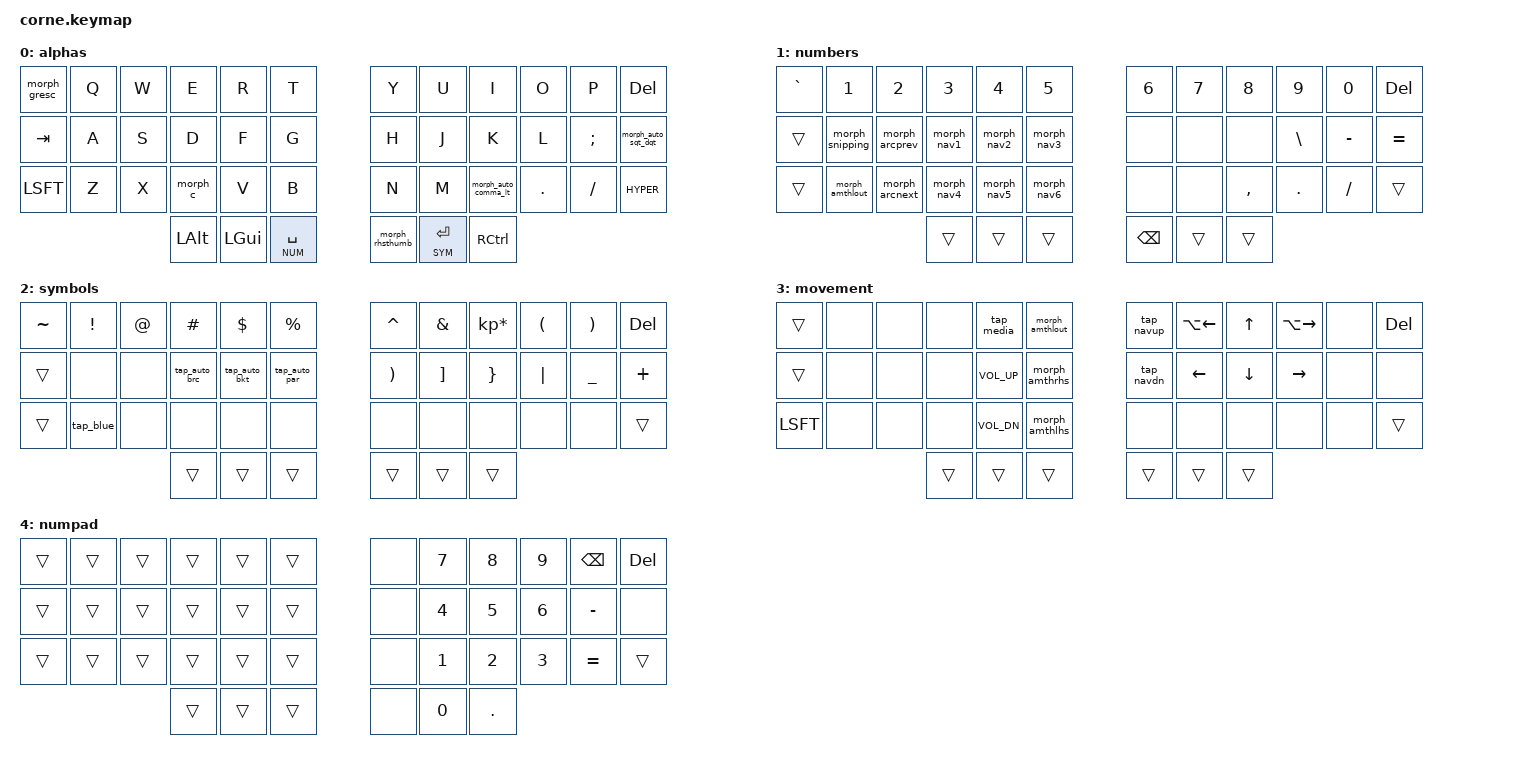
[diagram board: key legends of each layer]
/*
 * Copyright (c) 2020 The ZMK Contributors
 *
 * SPDX-License-Identifier: MIT
 */

#include "../src/base.dtsi"

// corne keymap
/ {
  keymap {
    compatible = "zmk,keymap";
    alphas {
      bindings = <
        &morph_gresc &kp Q &kp W &kp E &kp R &kp T  &kp Y &kp U &kp I &kp O &kp P &kp DEL
        &kp TAB &kp A &kp S &kp D &kp F &kp G       &kp H &kp J &kp K &kp L &kp SEMI &morph_auto_sqt_dqt
        &kp LSFT &kp Z &kp X &morph_c &kp V &kp B   &kp N &kp M &morph_auto_comma_lt &kp DOT &kp FSLH &kp HYPER
        &kp LALT &kp LGUI &lt NUM SPACE             &morph_rhsthumb &lt SYM RET &kp RCTRL
      >;
    };
    numbers {
      bindings = <  
        &kp GRAVE &kp N1 &kp N2 &kp N3 &kp N4 &kp N5                                &kp N6 &kp N7 &kp N8 &kp N9 &kp N0 &kp DEL
        &trans &morph_snipping &morph_arcprev &morph_nav1 &morph_nav2 &morph_nav3   &none &none &none &kp BSLH &kp MINUS &kp EQUAL
        &trans &morph_amthlout &morph_arcnext &morph_nav4 &morph_nav5 &morph_nav6   &none &none &kp COMMA &kp DOT &kp FSLH &trans
        &trans &trans &trans                                                        &kp BSPC &trans &trans
      >;  
    };
    symbols {
      bindings = <
        &kp TILDE &kp EXCL &kp AT &kp HASH &kp DLLR &kp PRCNT         &kp CARET &kp AMPS &kp KP_MULTIPLY &kp LPAR &kp RPAR &kp DEL
        &trans &none &none &tap_auto_brc &tap_auto_bkt &tap_auto_par  &kp RPAR &kp RBKT &kp RBRC &kp PIPE &kp UNDER &kp PLUS
        &trans &tap_blue &none &none &none &none                      &none &none &none &none &none &trans
        &trans &trans &trans                                          &trans &trans &trans
      >;
    };
    movement {
      bindings = <
        &trans &none &none &none &tap_media &morph_amthlout       &tap_navup &kp LA(LEFT) &kp UP &kp LA(RIGHT) &none &kp DEL 
        &trans &none &none &none &kp C_VOL_UP &morph_amthrhs      &tap_navdn &kp LEFT &kp DOWN &kp RIGHT &none &none
        &kp LSFT &none &none &none &kp C_VOL_DN &morph_amthlhs    &none &none &none &none &none &trans
        &trans &trans &trans                                      &trans &trans &trans
      >;
    };
    numpad {
      bindings = <  
        &trans &trans &trans &trans &trans &trans   &none &kp N7 &kp N8 &kp N9 &kp BSPC &kp DEL
        &trans &trans &trans &trans &trans &trans   &none &kp N4 &kp N5 &kp N6 &kp MINUS &none
        &trans &trans &trans &trans &trans &trans   &none &kp N1 &kp N2 &kp N3 &kp EQUAL &trans
        &trans &trans &trans                        &none &kp N0 &kp DOT
      >;  
    };
  };
};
